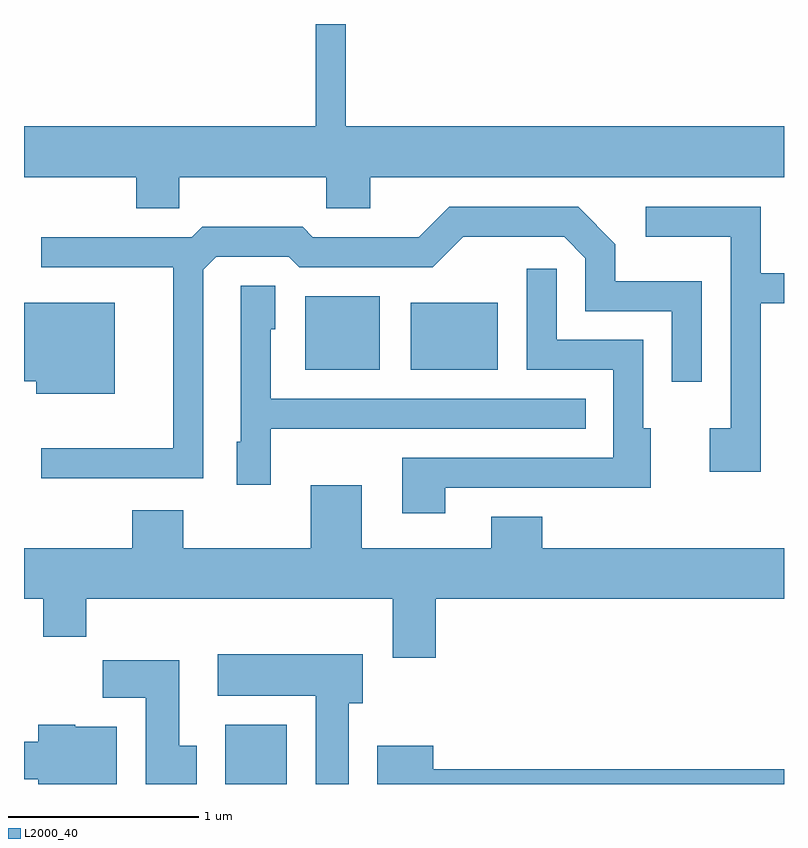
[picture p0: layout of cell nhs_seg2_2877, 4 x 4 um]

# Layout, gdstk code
import gdstk
lib = gdstk.Library(unit=1e-6, precision=1e-09)
def R(c, l, rs):  # rectangles x0, y0, x1, y1
    for r in rs: c.add(gdstk.rectangle(r[:2], r[2:], *l))
def P(c, l, *ps):  # polygons
    for p in ps: c.add(gdstk.Polygon(p, *l))
L2000_40 = (2000, 40)

nhs_seg2_2877 = lib.new_cell('nhs_seg2_2877')
R(nhs_seg2_2877, L2000_40, [(270.671,1031.802,270.994,1032.114), (271.091,1033.981,271.484,1034.369), (271.646,1033.981,272.104,1034.334)])
P(nhs_seg2_2877, L2000_40, [(270.429,1034.996),(271.201,1034.996),(271.201,1034.831),(271.434,1034.831),(271.434,1034.996),(273.611,1034.996),(273.611,1035.264),(271.304,1035.264),(271.304,1035.802),(271.146,1035.802),(271.146,1035.264),(269.611,1035.264),(269.611,1034.996),(270.201,1034.996),(270.201,1034.831),(270.429,1034.831)],
  [(273.489,1034.331),(273.611,1034.331),(273.611,1034.489),(273.489,1034.489),(273.489,1034.839),(272.883,1034.839),(272.883,1034.681),(273.331,1034.681),(273.331,1033.674),(273.221,1033.674),(273.221,1033.446),(273.489,1033.446)],
  [(270.554,1034.508),(270.622,1034.576),(271.004,1034.576),(271.059,1034.521),(271.762,1034.521),(271.922,1034.681),(272.454,1034.681),(272.566,1034.569),(272.566,1034.291),(273.021,1034.291),(273.021,1033.918),(273.179,1033.918),(273.179,1034.449),(272.724,1034.449),(272.724,1034.642),(272.527,1034.839),(271.849,1034.839),(271.689,1034.679),(271.132,1034.679),(271.077,1034.734),(270.549,1034.734),(270.494,1034.679),(269.703,1034.679),(269.703,1034.521),(270.396,1034.521),(270.396,1033.569),(269.703,1033.569),(269.703,1033.411),(270.554,1033.411)],
  [(271.829,1033.361),(272.909,1033.361),(272.909,1033.674),(272.869,1033.674),(272.869,1034.139),(272.414,1034.139),(272.414,1034.513),(272.256,1034.513),(272.256,1033.981),(272.711,1033.981),(272.711,1033.519),(271.601,1033.519),(271.601,1033.226),(271.829,1033.226)],
  [(270.909,1033.671),(272.568,1033.671),(272.568,1033.829),(270.909,1033.829),(270.909,1034.196),(270.934,1034.196),(270.934,1034.424),(270.751,1034.424),(270.751,1033.604),(270.731,1033.604),(270.731,1033.376),(270.909,1033.376)],
  [(270.089,1034.334),(269.611,1034.334),(269.611,1033.921),(269.676,1033.921),(269.676,1033.856),(270.089,1033.856)],
  [(271.779,1032.776),(273.611,1032.776),(273.611,1033.044),(272.339,1033.044),(272.339,1033.209),(272.071,1033.209),(272.071,1033.044),(271.389,1033.044),(271.389,1033.374),(271.121,1033.374),(271.121,1033.044),(270.449,1033.044),(270.449,1033.244),(270.181,1033.244),(270.181,1033.044),(269.611,1033.044),(269.611,1032.776),(269.711,1032.776),(269.711,1032.576),(269.939,1032.576),(269.939,1032.776),(271.551,1032.776),(271.551,1032.466),(271.779,1032.466)],
  [(271.319,1032.226),(271.394,1032.226),(271.394,1032.484),(270.631,1032.484),(270.631,1032.266),(271.146,1032.266),(271.146,1031.802),(271.319,1031.802)],
  [(270.519,1032.004),(270.429,1032.004),(270.429,1032.454),(270.026,1032.454),(270.026,1032.256),(270.251,1032.256),(270.251,1031.802),(270.519,1031.802)],
  [(270.099,1032.104),(269.88,1032.104),(269.88,1032.114),(269.686,1032.114),(269.686,1032.024),(269.611,1032.024),(269.611,1031.826),(269.686,1031.826),(269.686,1031.802),(270.099,1031.802)],
  [(273.611,1031.879),(271.764,1031.879),(271.764,1032.004),(271.471,1032.004),(271.471,1031.802),(273.611,1031.802)])

lib.write_gds('nhs_seg2_2877.gds')
